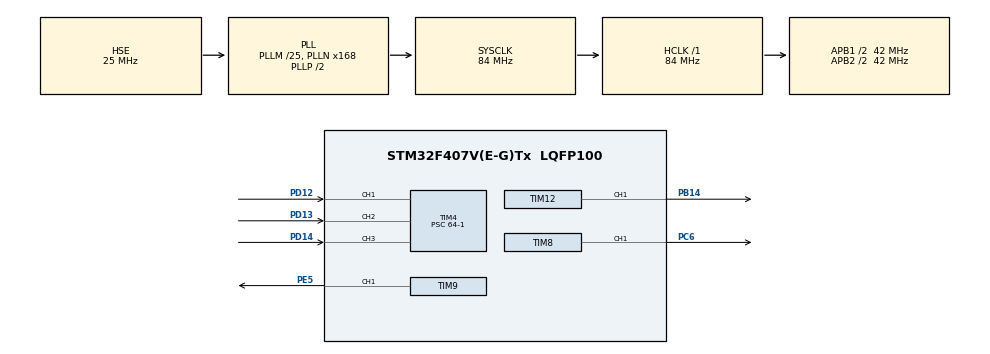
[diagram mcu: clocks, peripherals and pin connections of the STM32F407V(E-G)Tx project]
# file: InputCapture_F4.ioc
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Mcu.Family=STM32F4
Mcu.Name=STM32F407V(E-G)Tx
Mcu.Package=LQFP100
NVIC.PriorityGroup=NVIC_PRIORITYGROUP_4
NVIC.TIM4_IRQn=true\:0\:0\:false\:false\:true\:true\:true\:true
PA0-WKUP.Signal=S_TIM2_CH1_ETR
PA13.Mode=Serial_Wire
PA13.Signal=SYS_JTMS-SWDIO
PA14.Mode=Serial_Wire
PA14.Signal=SYS_JTCK-SWCLK
PB14.Signal=S_TIM12_CH1
PC6.Signal=S_TIM8_CH1
PD12.Signal=S_TIM4_CH1
PD13.Signal=S_TIM4_CH2
PD14.Signal=S_TIM4_CH3
PE5.Signal=S_TIM9_CH1
PE9.Signal=S_TIM1_CH1
PH0-OSC_IN.Mode=HSE-External-Oscillator
PH0-OSC_IN.Signal=RCC_OSC_IN
PH1-OSC_OUT.Mode=HSE-External-Oscillator
PH1-OSC_OUT.Signal=RCC_OSC_OUT
ProjectManager.HeapSize=0x200
ProjectManager.StackSize=0x400
ProjectManager.TargetToolchain=STM32CubeIDE
RCC.48MHZClocksFreq_Value=42000000
RCC.AHBFreq_Value=84000000
RCC.APB1CLKDivider=RCC_HCLK_DIV2
RCC.APB1Freq_Value=42000000
RCC.APB1TimFreq_Value=84000000
RCC.APB2CLKDivider=RCC_HCLK_DIV2
RCC.APB2Freq_Value=42000000
RCC.APB2TimFreq_Value=84000000
RCC.CortexFreq_Value=84000000
RCC.HCLKFreq_Value=84000000
RCC.HSE_VALUE=25000000
RCC.HSI_VALUE=16000000
RCC.LSE_VALUE=32768
RCC.PLLM=25
RCC.PLLN=168
RCC.PLLSourceVirtual=RCC_PLLSOURCE_HSE
RCC.SYSCLKFreq_VALUE=84000000
RCC.SYSCLKSource=RCC_SYSCLKSOURCE_PLLCLK
RCC.VCOOutputFreq_Value=168000000
SH.S_TIM12_CH1.0=TIM12_CH1,PWM Generation1 CH1
SH.S_TIM1_CH1.0=TIM1_CH1
SH.S_TIM2_CH1_ETR.0=TIM2_CH1
SH.S_TIM4_CH1.0=TIM4_CH1,Input_Capture1_from_TI1
SH.S_TIM4_CH2.0=TIM4_CH2,Input_Capture2_from_TI2
SH.S_TIM4_CH3.0=TIM4_CH3,Input_Capture3_from_TI3
SH.S_TIM8_CH1.0=TIM8_CH1,PWM Generation1 CH1
SH.S_TIM9_CH1.0=TIM9_CH1,PWM Generation1 CH1
TIM12.Channel-PWM\ Generation1\ CH1=TIM_CHANNEL_1
TIM12.Period=100-1
TIM12.Prescaler=64-1
TIM4.Channel-Input_Capture1_from_TI1=TIM_CHANNEL_1
TIM4.Channel-Input_Capture2_from_TI2=TIM_CHANNEL_2
TIM4.Channel-Input_Capture3_from_TI3=TIM_CHANNEL_3
TIM4.ICPolarity_CH1=TIM_INPUTCHANNELPOLARITY_BOTHEDGE
TIM4.ICPolarity_CH2=TIM_INPUTCHANNELPOLARITY_BOTHEDGE
TIM4.ICPolarity_CH3=TIM_INPUTCHANNELPOLARITY_BOTHEDGE
TIM4.Prescaler=64-1
TIM8.Channel-PWM\ Generation1\ CH1=TIM_CHANNEL_1
TIM8.Period=100-1
TIM8.Prescaler=64-1
TIM9.Channel-PWM\ Generation1\ CH1=TIM_CHANNEL_1
TIM9.Period=100-1
TIM9.Prescaler=64-1
VP_TIM12_VS_ClockSourceINT.Mode=Internal
VP_TIM4_VS_ClockSourceINT.Mode=Internal
VP_TIM8_VS_ClockSourceINT.Mode=Internal
VP_TIM9_VS_ClockSourceINT.Mode=Internal
board=custom

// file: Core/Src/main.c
/* USER CODE BEGIN Header */
/**
  ******************************************************************************
  * @file           : main.c
  * @brief          : Main program body
  ******************************************************************************
  * @attention
  *
  * Copyright (c) 2024 STMicroelectronics.
  * All rights reserved.
  *
  * This software is licensed under terms that can be found in the LICENSE file
  * in the root directory of this software component.
  * If no LICENSE file comes with this software, it is provided AS-IS.
  *
  ******************************************************************************
  */
/* USER CODE END Header */
#include "main.h"

/* USER CODE BEGIN PD */
#define TIMCLOCK 84000000
#define PRESCALAR 84
/* USER CODE END PD */

TIM_HandleTypeDef htim4;
TIM_HandleTypeDef htim8;
TIM_HandleTypeDef htim9;
TIM_HandleTypeDef htim12;

/* USER CODE BEGIN PV */
uint32_t IC_Val1=0;
uint32_t IC_Val2=0;
uint32_t Difference=0;
int Is_First_Captured=0;
float frequency=0;
//double width=0;

/* USER CODE END PV */

void SystemClock_Config(void);
static void MX_GPIO_Init(void);
static void MX_TIM4_Init(void);
static void MX_TIM8_Init(void);
static void MX_TIM9_Init(void);
static void MX_TIM12_Init(void);

/* USER CODE BEGIN 0 */

//void HAL_TIM_IC_CaptureCallback(TIM_HandleTypeDef *htim)
//{
//	if (htim->Channel == HAL_TIM_ACTIVE_CHANNEL_1)
//	{
//		if (Is_First_Captured==0) // if the first rising edge is not captured
//		{
//			IC_Val1 = HAL_TIM_ReadCapturedValue(htim, TIM_CHANNEL_1); // read the first value
//			Is_First_Captured = 1;  // set the first captured as true
//		}
//
//		else   // If the first rising edge is captured, now we will capture the second edge
//		{
//			IC_Val2 = HAL_TIM_ReadCapturedValue(htim, TIM_CHANNEL_1);  // read second value
//
//			if (IC_Val2 > IC_Val1)
//			{
//				Difference = IC_Val2-IC_Val1;
//			}
//
//			else if (IC_Val1 > IC_Val2)
//			{
//				Difference = (0xffffffff - IC_Val1) + IC_Val2;
//			}
//
//			float refClock = TIMCLOCK/(PRESCALAR);
//
//			frequency = refClock/Difference;
//
//			__HAL_TIM_SET_COUNTER(htim, 0);  // reset the counter
//			Is_First_Captured = 0; // set it back to false
//		}
//	}
//}

static uint32_t IC_Val1x=0,IC_Val1y=0,IC_Val1z=0;
static uint32_t IC_Val2x=0,IC_Val2y=0,IC_Val2z=0;
static uint32_t Difference_x=0,Difference_y=0,Difference_z=0;
static int Is_First_Captured_x=0,Is_First_Captured_y=0,Is_First_Captured_z=0;
static double fbx_duty, fby_duty, fbz_duty;

void HAL_TIM_IC_CaptureCallback(TIM_HandleTypeDef *htim)
{

	if (htim->Channel == HAL_TIM_ACTIVE_CHANNEL_1)  // if the interrupt source is channel1
	{
		if (Is_First_Captured_x==0) // if the first value is not captured
		{
			IC_Val1x = HAL_TIM_ReadCapturedValue(htim, TIM_CHANNEL_1); // read the first value
			Is_First_Captured_x = 1;  // set the first captured as true
		}

		else   // if the first is already captured
		{
			IC_Val2x = HAL_TIM_ReadCapturedValue(htim, TIM_CHANNEL_1);  // read second value

			if (IC_Val2x > IC_Val1x)
			{
				Difference_x = IC_Val2x-IC_Val1x;
			}

			else if (IC_Val1x > IC_Val2x)
			{
				Difference_x = (0xffffffff - IC_Val1x) + IC_Val2x;
			}

			double refClock = TIMCLOCK/(PRESCALAR);
			double mFactor = 1000000/refClock;
			fbx_duty = Difference_x*mFactor;

			__HAL_TIM_SET_COUNTER(htim, 0);  // reset the counter
			Is_First_Captured_x = 0; // set it back to false
		}
	}
	else if (htim->Channel == HAL_TIM_ACTIVE_CHANNEL_2)  // if the interrupt source is channel1
		{
			if (Is_First_Captured_y==0) // if the first value is not captured
			{
				IC_Val1y = HAL_TIM_ReadCapturedValue(htim, TIM_CHANNEL_2); // read the first value
				Is_First_Captured_y = 1;  // set the first captured as true
			}

			else   // if the first is already captured
			{
				IC_Val2y = HAL_TIM_ReadCapturedValue(htim, TIM_CHANNEL_2);  // read second value

				if (IC_Val2y > IC_Val1y)
				{
					Difference_y = IC_Val2y-IC_Val1y;
				}

				else if (IC_Val1y > IC_Val2y)
				{
					Difference_y = (0xffffffff - IC_Val1y) + IC_Val2y;
				}

				double refClock = TIMCLOCK/(PRESCALAR);
				double mFactor = 1000000/refClock;
				fby_duty = Difference_y*mFactor;

				__HAL_TIM_SET_COUNTER(htim, 0);  // reset the counter
				Is_First_Captured_y = 0; // set it back to false
			}
		}
	else if (htim->Channel == HAL_TIM_ACTIVE_CHANNEL_3)  // if the interrupt source is channel1
		{
			if (Is_First_Captured_z==0) // if the first value is not captured
			{
				IC_Val1z = HAL_TIM_ReadCapturedValue(htim, TIM_CHANNEL_3); // read the first value
				Is_First_Captured_z = 1;  // set the first captured as true
			}

			else   // if the first is already captured
			{
				IC_Val2z = HAL_TIM_ReadCapturedValue(htim, TIM_CHANNEL_3);  // read second value

				if (IC_Val2z > IC_Val1z)
				{
					Difference_z = IC_Val2z-IC_Val1z;
				}

				else if (IC_Val1z > IC_Val2z)
				{
					Difference_z = (0xffffffff - IC_Val1z) + IC_Val2z;
				}

				double refClock = TIMCLOCK/(PRESCALAR);
				double mFactor = 1000000/refClock;
				fbz_duty = Difference_z*mFactor;

				__HAL_TIM_SET_COUNTER(htim, 0);  // reset the counter
				Is_First_Captured_z = 0; // set it back to false
			}
		}

}

/* USER CODE END 0 */

int main(void)
{

  /* MCU Configuration--------------------------------------------------------*/

  /* Reset of all peripherals, Initializes the Flash interface and the Systick. */
  HAL_Init();

  /* Configure the system clock */
  SystemClock_Config();

  /* Initialize all configured peripherals */
  MX_GPIO_Init();
  MX_TIM4_Init();
  MX_TIM8_Init();
  MX_TIM9_Init();
  MX_TIM12_Init();
  /* USER CODE BEGIN 2 */

  TIM1->CCR1=75;
  HAL_TIM_PWM_Start(&htim1,TIM_CHANNEL_1);
 // HAL_TIM_IC_Start(&htim2,TIM_CHANNEL_1);
  HAL_TIM_IC_Start_IT(&htim2, TIM_CHANNEL_1);
  /* USER CODE END 2 */

  /* Infinite loop */
  while (1)
  {

    /* USER CODE BEGIN 3 */
	//  HAL_Delay(1000);
  }
  /* USER CODE END 3 */
}

void SystemClock_Config(void)
{
  RCC_OscInitTypeDef RCC_OscInitStruct = {0};
  RCC_ClkInitTypeDef RCC_ClkInitStruct = {0};

  /** Configure the main internal regulator output voltage
  */
  __HAL_RCC_PWR_CLK_ENABLE();
  __HAL_PWR_VOLTAGESCALING_CONFIG(PWR_REGULATOR_VOLTAGE_SCALE1);

  /** Initializes the RCC Oscillators according to the specified parameters
  * in the RCC_OscInitTypeDef structure.
  */
  RCC_OscInitStruct.OscillatorType = RCC_OSCILLATORTYPE_HSE;
  RCC_OscInitStruct.HSEState = RCC_HSE_ON;
  RCC_OscInitStruct.PLL.PLLState = RCC_PLL_ON;
  RCC_OscInitStruct.PLL.PLLSource = RCC_PLLSOURCE_HSE;
  RCC_OscInitStruct.PLL.PLLM = 25;
  RCC_OscInitStruct.PLL.PLLN = 168;
  RCC_OscInitStruct.PLL.PLLP = RCC_PLLP_DIV2;
  RCC_OscInitStruct.PLL.PLLQ = 4;
  if (HAL_RCC_OscConfig(&RCC_OscInitStruct) != HAL_OK)
  {
    Error_Handler();
  }

  /** Initializes the CPU, AHB and APB buses clocks
  */
  RCC_ClkInitStruct.ClockType = RCC_CLOCKTYPE_HCLK|RCC_CLOCKTYPE_SYSCLK
                              |RCC_CLOCKTYPE_PCLK1|RCC_CLOCKTYPE_PCLK2;
  RCC_ClkInitStruct.SYSCLKSource = RCC_SYSCLKSOURCE_PLLCLK;
  RCC_ClkInitStruct.AHBCLKDivider = RCC_SYSCLK_DIV1;
  RCC_ClkInitStruct.APB1CLKDivider = RCC_HCLK_DIV2;
  RCC_ClkInitStruct.APB2CLKDivider = RCC_HCLK_DIV2;

  if (HAL_RCC_ClockConfig(&RCC_ClkInitStruct, FLASH_LATENCY_2) != HAL_OK)
  {
    Error_Handler();
  }
}

static void MX_TIM4_Init(void)
{

  TIM_ClockConfigTypeDef sClockSourceConfig = {0};
  TIM_MasterConfigTypeDef sMasterConfig = {0};
  TIM_IC_InitTypeDef sConfigIC = {0};

  htim4.Instance = TIM4;
  htim4.Init.Prescaler = 64-1;
  htim4.Init.CounterMode = TIM_COUNTERMODE_UP;
  htim4.Init.Period = 65535;
  htim4.Init.ClockDivision = TIM_CLOCKDIVISION_DIV1;
  htim4.Init.AutoReloadPreload = TIM_AUTORELOAD_PRELOAD_DISABLE;
  if (HAL_TIM_Base_Init(&htim4) != HAL_OK)
  {
    Error_Handler();
  }
  sClockSourceConfig.ClockSource = TIM_CLOCKSOURCE_INTERNAL;
  if (HAL_TIM_ConfigClockSource(&htim4, &sClockSourceConfig) != HAL_OK)
  {
    Error_Handler();
  }
  if (HAL_TIM_IC_Init(&htim4) != HAL_OK)
  {
    Error_Handler();
  }
  sMasterConfig.MasterOutputTrigger = TIM_TRGO_RESET;
  sMasterConfig.MasterSlaveMode = TIM_MASTERSLAVEMODE_DISABLE;
  if (HAL_TIMEx_MasterConfigSynchronization(&htim4, &sMasterConfig) != HAL_OK)
  {
    Error_Handler();
  }
  sConfigIC.ICPolarity = TIM_INPUTCHANNELPOLARITY_BOTHEDGE;
  sConfigIC.ICSelection = TIM_ICSELECTION_DIRECTTI;
  sConfigIC.ICPrescaler = TIM_ICPSC_DIV1;
  sConfigIC.ICFilter = 0;
  if (HAL_TIM_IC_ConfigChannel(&htim4, &sConfigIC, TIM_CHANNEL_1) != HAL_OK)
  {
    Error_Handler();
  }
  if (HAL_TIM_IC_ConfigChannel(&htim4, &sConfigIC, TIM_CHANNEL_2) != HAL_OK)
  {
    Error_Handler();
  }
  if (HAL_TIM_IC_ConfigChannel(&htim4, &sConfigIC, TIM_CHANNEL_3) != HAL_OK)
  {
    Error_Handler();
  }

}

static void MX_TIM8_Init(void)
{

  TIM_ClockConfigTypeDef sClockSourceConfig = {0};
  TIM_MasterConfigTypeDef sMasterConfig = {0};
  TIM_OC_InitTypeDef sConfigOC = {0};
  TIM_BreakDeadTimeConfigTypeDef sBreakDeadTimeConfig = {0};

  htim8.Instance = TIM8;
  htim8.Init.Prescaler = 64-1;
  htim8.Init.CounterMode = TIM_COUNTERMODE_UP;
  htim8.Init.Period = 100-1;
  htim8.Init.ClockDivision = TIM_CLOCKDIVISION_DIV1;
  htim8.Init.RepetitionCounter = 0;
  htim8.Init.AutoReloadPreload = TIM_AUTORELOAD_PRELOAD_DISABLE;
  if (HAL_TIM_Base_Init(&htim8) != HAL_OK)
  {
    Error_Handler();
  }
  sClockSourceConfig.ClockSource = TIM_CLOCKSOURCE_INTERNAL;
  if (HAL_TIM_ConfigClockSource(&htim8, &sClockSourceConfig) != HAL_OK)
  {
    Error_Handler();
  }
  if (HAL_TIM_PWM_Init(&htim8) != HAL_OK)
  {
    Error_Handler();
  }
  sMasterConfig.MasterOutputTrigger = TIM_TRGO_RESET;
  sMasterConfig.MasterSlaveMode = TIM_MASTERSLAVEMODE_DISABLE;
  if (HAL_TIMEx_MasterConfigSynchronization(&htim8, &sMasterConfig) != HAL_OK)
  {
    Error_Handler();
  }
  sConfigOC.OCMode = TIM_OCMODE_PWM1;
  sConfigOC.Pulse = 0;
  sConfigOC.OCPolarity = TIM_OCPOLARITY_HIGH;
  sConfigOC.OCNPolarity = TIM_OCNPOLARITY_HIGH;
  sConfigOC.OCFastMode = TIM_OCFAST_DISABLE;
  sConfigOC.OCIdleState = TIM_OCIDLESTATE_RESET;
  sConfigOC.OCNIdleState = TIM_OCNIDLESTATE_RESET;
  if (HAL_TIM_PWM_ConfigChannel(&htim8, &sConfigOC, TIM_CHANNEL_1) != HAL_OK)
  {
    Error_Handler();
  }
  sBreakDeadTimeConfig.OffStateRunMode = TIM_OSSR_DISABLE;
  sBreakDeadTimeConfig.OffStateIDLEMode = TIM_OSSI_DISABLE;
  sBreakDeadTimeConfig.LockLevel = TIM_LOCKLEVEL_OFF;
  sBreakDeadTimeConfig.DeadTime = 0;
  sBreakDeadTimeConfig.BreakState = TIM_BREAK_DISABLE;
  sBreakDeadTimeConfig.BreakPolarity = TIM_BREAKPOLARITY_HIGH;
  sBreakDeadTimeConfig.AutomaticOutput = TIM_AUTOMATICOUTPUT_DISABLE;
  if (HAL_TIMEx_ConfigBreakDeadTime(&htim8, &sBreakDeadTimeConfig) != HAL_OK)
  {
    Error_Handler();
  }
  HAL_TIM_MspPostInit(&htim8);

}

static void MX_TIM9_Init(void)
{

  TIM_ClockConfigTypeDef sClockSourceConfig = {0};
  TIM_OC_InitTypeDef sConfigOC = {0};

  htim9.Instance = TIM9;
  htim9.Init.Prescaler = 64-1;
  htim9.Init.CounterMode = TIM_COUNTERMODE_UP;
  htim9.Init.Period = 100-1;
  htim9.Init.ClockDivision = TIM_CLOCKDIVISION_DIV1;
  htim9.Init.AutoReloadPreload = TIM_AUTORELOAD_PRELOAD_DISABLE;
  if (HAL_TIM_Base_Init(&htim9) != HAL_OK)
  {
    Error_Handler();
  }
  sClockSourceConfig.ClockSource = TIM_CLOCKSOURCE_INTERNAL;
  if (HAL_TIM_ConfigClockSource(&htim9, &sClockSourceConfig) != HAL_OK)
  {
    Error_Handler();
  }
  if (HAL_TIM_PWM_Init(&htim9) != HAL_OK)
  {
    Error_Handler();
  }
  sConfigOC.OCMode = TIM_OCMODE_PWM1;
  sConfigOC.Pulse = 0;
  sConfigOC.OCPolarity = TIM_OCPOLARITY_HIGH;
  sConfigOC.OCFastMode = TIM_OCFAST_DISABLE;
  if (HAL_TIM_PWM_ConfigChannel(&htim9, &sConfigOC, TIM_CHANNEL_1) != HAL_OK)
  {
    Error_Handler();
  }
  HAL_TIM_MspPostInit(&htim9);

}

static void MX_TIM12_Init(void)
{

  TIM_ClockConfigTypeDef sClockSourceConfig = {0};
  TIM_OC_InitTypeDef sConfigOC = {0};

  htim12.Instance = TIM12;
  htim12.Init.Prescaler = 64-1;
  htim12.Init.CounterMode = TIM_COUNTERMODE_UP;
  htim12.Init.Period = 100-1;
  htim12.Init.ClockDivision = TIM_CLOCKDIVISION_DIV1;
  htim12.Init.AutoReloadPreload = TIM_AUTORELOAD_PRELOAD_DISABLE;
  if (HAL_TIM_Base_Init(&htim12) != HAL_OK)
  {
    Error_Handler();
  }
  sClockSourceConfig.ClockSource = TIM_CLOCKSOURCE_INTERNAL;
  if (HAL_TIM_ConfigClockSource(&htim12, &sClockSourceConfig) != HAL_OK)
  {
    Error_Handler();
  }
  if (HAL_TIM_PWM_Init(&htim12) != HAL_OK)
  {
    Error_Handler();
  }
  sConfigOC.OCMode = TIM_OCMODE_PWM1;
  sConfigOC.Pulse = 0;
  sConfigOC.OCPolarity = TIM_OCPOLARITY_HIGH;
  sConfigOC.OCFastMode = TIM_OCFAST_DISABLE;
  if (HAL_TIM_PWM_ConfigChannel(&htim12, &sConfigOC, TIM_CHANNEL_1) != HAL_OK)
  {
    Error_Handler();
  }
  HAL_TIM_MspPostInit(&htim12);

}

static void MX_GPIO_Init(void)
{
  GPIO_InitTypeDef GPIO_InitStruct = {0};

  /* GPIO Ports Clock Enable */
  __HAL_RCC_GPIOE_CLK_ENABLE();
  __HAL_RCC_GPIOH_CLK_ENABLE();
  __HAL_RCC_GPIOA_CLK_ENABLE();
  __HAL_RCC_GPIOB_CLK_ENABLE();
  __HAL_RCC_GPIOD_CLK_ENABLE();
  __HAL_RCC_GPIOC_CLK_ENABLE();

  /*Configure GPIO pin : PA0 */
  GPIO_InitStruct.Pin = GPIO_PIN_0;
  GPIO_InitStruct.Mode = GPIO_MODE_AF_PP;
  GPIO_InitStruct.Pull = GPIO_NOPULL;
  GPIO_InitStruct.Speed = GPIO_SPEED_FREQ_LOW;
  GPIO_InitStruct.Alternate = GPIO_AF1_TIM2;
  HAL_GPIO_Init(GPIOA, &GPIO_InitStruct);

  /*Configure GPIO pin : PE9 */
  GPIO_InitStruct.Pin = GPIO_PIN_9;
  GPIO_InitStruct.Mode = GPIO_MODE_AF_PP;
  GPIO_InitStruct.Pull = GPIO_NOPULL;
  GPIO_InitStruct.Speed = GPIO_SPEED_FREQ_LOW;
  GPIO_InitStruct.Alternate = GPIO_AF1_TIM1;
  HAL_GPIO_Init(GPIOE, &GPIO_InitStruct);

}

void Error_Handler(void)
{
  __disable_irq();
  while (1)
  {
  }
}
